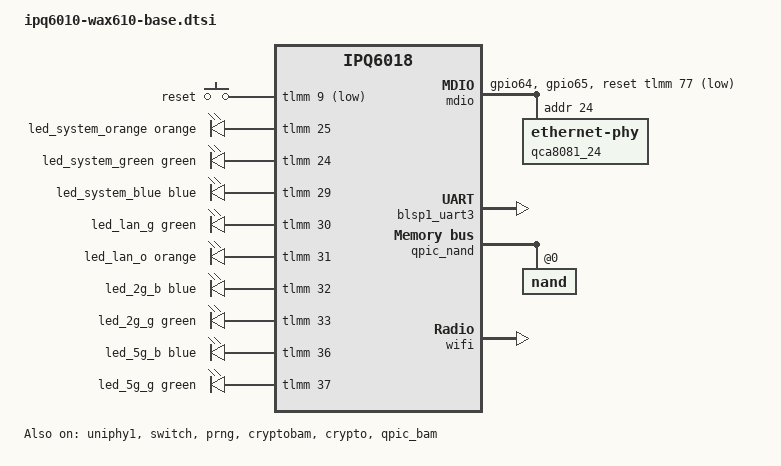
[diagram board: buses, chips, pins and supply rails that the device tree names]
#include "ipq6018.dtsi"
#include "ipq6018-cp-cpu.dtsi"
#include "ipq6018-ess.dtsi"
#include <dt-bindings/gpio/gpio.h>
#include <dt-bindings/input/input.h>
#include <dt-bindings/leds/common.h>

/ {
	aliases {
		serial0 = &blsp1_uart3;
		ethernet0 = &swport5;
		label-mac-device = &swport5;

		led-boot = &led_system_blue;
		led-failsafe = &led_system_orange;
		led-running = &led_system_green;
		led-upgrade = &led_system_blue;
	};

	chosen {
		stdout-path = "serial0:115200n8";
		/*
		 * Netgear's U-Boot adds "ubi.mtd=rootfs root=mtd:ubi_rootfs"
		 * That fails to create a UBI block device, so add it here.
		*/
		bootargs-append = " root=/dev/ubiblock0_1";
	};

	keys {
		compatible = "gpio-keys";

		reset {
			label = "reset";
			gpios = <&tlmm 9 GPIO_ACTIVE_LOW>;
			linux,code = <KEY_RESTART>;
			debounce-interval = <60>;
		};
	};

	leds {
		compatible = "gpio-leds";

		led_system_orange: system-orange {
			color = <LED_COLOR_ID_ORANGE>;
			function = LED_FUNCTION_POWER;
			function-enumerator = <0>;
			gpios = <&tlmm 25 GPIO_ACTIVE_HIGH>;
		};

		led_system_green: system-green {
			color = <LED_COLOR_ID_GREEN>;
			function = LED_FUNCTION_POWER;
			function-enumerator = <1>;
			gpios = <&tlmm 24 GPIO_ACTIVE_HIGH>;
		};

		led_system_blue: system-blue {
			color = <LED_COLOR_ID_BLUE>;
			function = LED_FUNCTION_POWER;
			function-enumerator = <2>;
			gpios = <&tlmm 29 GPIO_ACTIVE_HIGH>;
		};

		led_lan_g {
			color = <LED_COLOR_ID_GREEN>;
			function = LED_FUNCTION_LAN;
			function-enumerator = <0>;
			gpios = <&tlmm 30 GPIO_ACTIVE_HIGH>;
		};

		led_lan_o {
			color = <LED_COLOR_ID_ORANGE>;
			function = LED_FUNCTION_LAN;
			function-enumerator = <1>;
			gpios = <&tlmm 31 GPIO_ACTIVE_HIGH>;
		};

		led_2g_b {
			color = <LED_COLOR_ID_BLUE>;
			function = LED_FUNCTION_WLAN;
			function-enumerator = <0>;
			gpios = <&tlmm 32 GPIO_ACTIVE_HIGH>;
			linux,default-trigger = "phy1radio";
		};

		led_2g_g {
			color = <LED_COLOR_ID_GREEN>;
			function = LED_FUNCTION_WLAN;
			function-enumerator = <1>;
			gpios = <&tlmm 33 GPIO_ACTIVE_HIGH>;
		};

		led_5g_b {
			color = <LED_COLOR_ID_BLUE>;
			function = LED_FUNCTION_WLAN;
			function-enumerator = <2>;
			gpios = <&tlmm 36 GPIO_ACTIVE_HIGH>;
			linux,default-trigger = "phy0radio";
		};

		led_5g_g {
			color = <LED_COLOR_ID_GREEN>;
			function = LED_FUNCTION_WLAN;
			function-enumerator = <3>;
			gpios = <&tlmm 37 GPIO_ACTIVE_HIGH>;
		};
	};
};

&edma {
	status = "okay";
};

&uniphy1 {
	status = "okay";
};

&switch {
	status = "okay";

	ports {
		#address-cells = <1>;
		#size-cells = <0>;

		port@0 {
			reg = <0>;
			ethernet = <&edma>;
			phy-mode = "internal";

			fixed-link {
				speed = <1000>;
				full-duplex;
			};
		};

		swport5: port@5 {
			reg = <5>;
			label = "lan";
			phy-handle = <&qca8081_24>;
			phy-mode = "2500base-x";
			pcs-handle = <&uniphy1 0>;
		};
	};
};

&tlmm {
	mdio_pins: mdio-pins {
		mdc {
			pins = "gpio64";
			function = "mdc";
			drive-strength = <8>;
			bias-pull-up;
		};

		mdio {
			pins = "gpio65";
			function = "mdio";
			drive-strength = <8>;
			bias-pull-up;
		};
	};
};

&mdio {
	status = "okay";

	pinctrl-0 = <&mdio_pins>;
	pinctrl-names = "default";
	reset-gpios = <&tlmm 77 GPIO_ACTIVE_LOW>;

	qca8081_24: ethernet-phy@24 {
		reg = <24>;
	};
};

&blsp1_uart3 {
	pinctrl-0 = <&serial_3_pins>;
	pinctrl-names = "default";
	status = "okay";
};

&prng {
	status = "okay";
};

&cryptobam {
	status = "okay";
};

&crypto {
	status = "okay";
};

&qpic_bam {
	status = "okay";
};

&qpic_nand {
	status = "okay";

	nand@0 {
		reg = <0>;
		nand-ecc-strength = <4>;
		nand-ecc-step-size = <512>;
		nand-bus-width = <8>;

		partitions {
			compatible = "qcom,smem-part";
		};
	};
};

&wifi {
	status = "okay";

	qcom,m3-dump-addr = <0x50100000>;
};
